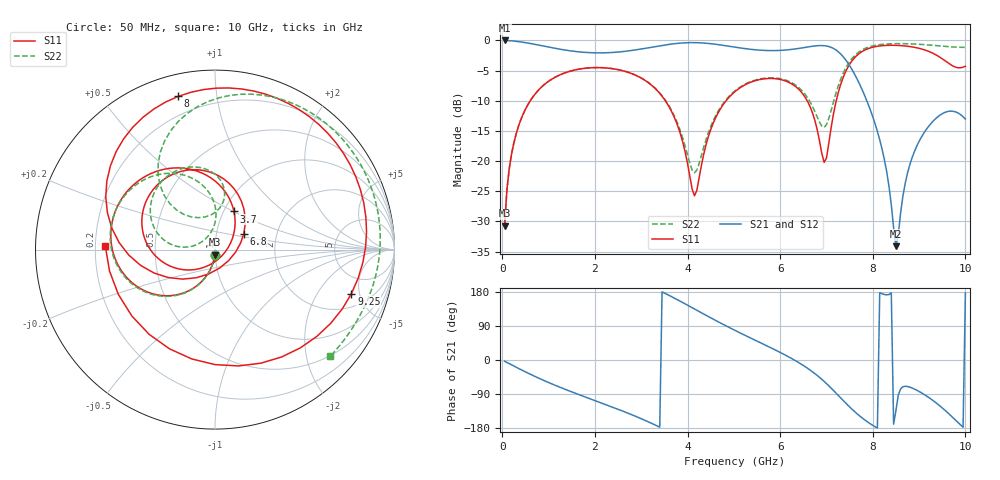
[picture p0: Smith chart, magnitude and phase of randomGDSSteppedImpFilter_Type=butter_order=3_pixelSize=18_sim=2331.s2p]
! freq	dB(S11)	phase(S11)	dB(S12)	phase(S12)
!  dB(S21)	phase(S21)	dB(S22)	phase(S22)
!S-par simulation data
#  GHz  S  DB  R 50
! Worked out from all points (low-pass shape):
!   200 points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, 50 MHz to 10 GHz, reference 50 ohm
!   highest |S21| = -0.01 dB at 50 MHz (marker M1); lowest = -34.1 dB at 8.5 GHz (marker M2)
!   |S21| within 3 dB of the highest: start of sweep to 7.393 GHz
!   lowest |S11| = -30.7 dB at 50 MHz (marker M3), VSWR 1.06, Z = 49.7 - j2.9 ohm
!   |S11| at or under -10 dB: start of sweep to 604.7 MHz; 3.52 GHz to 4.833 GHz (1.314 GHz wide, 31.5 % of centre); 6.583 GHz to 7.212 GHz (628.4 MHz wide, 9.11 % of centre)
!   |S22| runs from -30.7 to -0.5 dB; largest |S21 - S12| = 0
!   S11 on the Smith chart (normalised r, x): 50 MHz: 0.99, -0.06; 3.7 GHz: 1.12, +0.50; 6.8 GHz: 1.36, +0.24; 8 GHz: 0.11, +0.78; 9.25 GHz: 3.06, -4.16; 10 GHz: 0.24, +0.01
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0.05  -30.70 -93.4  -0.01 -3.3  -0.01 -3.3  -30.70 -93.3
0.2  -18.84 -103.3  -0.08 -12.8  -0.08 -12.8  -18.84 -103.1
0.5  -11.41 -122.1  -0.37 -31.4  -0.37 -31.4  -11.41 -121.6
1.75  -4.66 172.8  -1.96 -95.7  -1.96 -95.7  -4.65 175.0
2.7  -5.25 127.5  -1.77 -139.6  -1.77 -139.6  -5.23 133.3
3.4  -8.79 86.6  -0.90 -177.3  -0.90 -177.3  -8.71 101.1
3.7  -12.50 63.5  -0.56 164.3  -0.56 164.3  -12.28 89.9
4.15  -25.75 -42.5  -0.37 134.7  -0.37 134.7  -21.94 132.4
4.55  -13.80 -146.6  -0.59 108.1  -0.59 108.1  -13.39 175.1
5.05  -8.32 174.4  -1.15 76.5  -1.15 76.5  -8.20 155.3
6.05  -6.56 109.6  -1.64 16.9  -1.64 16.9  -6.43 105.2
6.7  -12.05 47.9  -0.97 -31.3  -0.97 -31.3  -10.99 79.9
6.8  -14.79 28.6  -0.88 -40.8  -0.88 -40.8  -12.70 83.8
7  -19.50 -75.8  -0.93 -62.1  -0.93 -62.1  -13.97 117.4
7.5  -3.96 161.1  -4.18 -123.9  -4.18 -123.9  -3.52 114.9
8  -1.13 103.5  -12.67 -172.5  -12.67 -172.5  -0.91 72.8
8.35  -0.81 72.0  -24.18 172.6  -24.18 172.6  -0.57 48.5
8.5  -0.82 59.1  -34.10 -133.5  -34.10 -133.5  -0.54 39.1
8.8  -1.02 32.2  -20.59 -71.6  -20.59 -71.6  -0.57 21.1
9.25  -1.95 -18.0  -13.83 -102.4  -13.83 -102.4  -0.78 -4.1
9.65  -3.86 -89.9  -11.74 -142.7  -11.74 -142.7  -1.05 -25.1
10  -4.28 178.4  -13.03 177.0  -13.03 177.0  -1.16 -42.7
